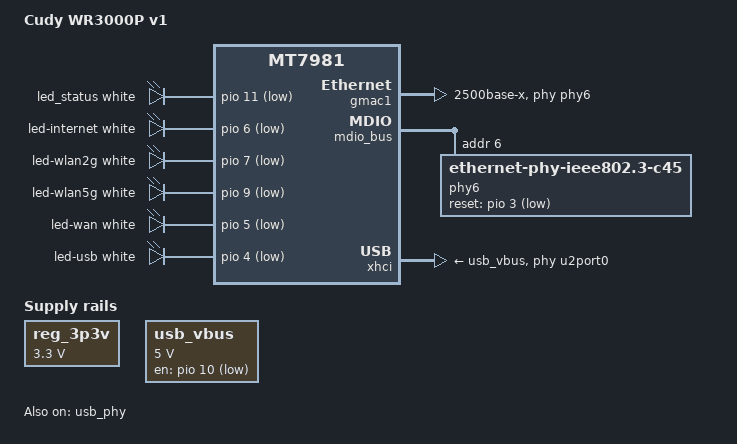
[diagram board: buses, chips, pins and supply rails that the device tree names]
// SPDX-License-Identifier: (GPL-2.0 OR MIT)

/dts-v1/;

#include "mt7981b-cudy-wr3000-nand.dtsi"

/ {
	model = "Cudy WR3000P v1";
	compatible = "cudy,wr3000p-v1", "mediatek,mt7981";

	aliases {
		label-mac-device = &gmac0;
		led-boot = &led_status;
		led-failsafe = &led_status;
		led-running = &led_status;
		led-upgrade = &led_status;
		serial0 = &uart0;
	};

	leds {
		compatible = "gpio-leds";

		led_status: led-status {
			function = LED_FUNCTION_STATUS;
			color = <LED_COLOR_ID_WHITE>;
			gpios = <&pio 11 GPIO_ACTIVE_LOW>;
		};

		led-internet {
			function = LED_FUNCTION_WAN_ONLINE;
			color = <LED_COLOR_ID_WHITE>;
			gpios = <&pio 6 GPIO_ACTIVE_LOW>;
		};

		led-wlan2g {
			function = LED_FUNCTION_WLAN_2GHZ;
			color = <LED_COLOR_ID_WHITE>;
			gpios = <&pio 7 GPIO_ACTIVE_LOW>;
			linux,default-trigger = "phy0tpt";
		};

		led-wlan5g {
			function = LED_FUNCTION_WLAN_5GHZ;
			color = <LED_COLOR_ID_WHITE>;
			gpios = <&pio 9 GPIO_ACTIVE_LOW>;
			linux,default-trigger = "phy1tpt";
		};

		led-wan {
			function = LED_FUNCTION_WAN;
			color = <LED_COLOR_ID_WHITE>;
			gpios = <&pio 5 GPIO_ACTIVE_LOW>;
		};

		led-usb {
			function = LED_FUNCTION_USB;
			color = <LED_COLOR_ID_WHITE>;
			gpios = <&pio 4 GPIO_ACTIVE_LOW>;
		};
	};

	reg_3p3v: regulator-3p3v {
		compatible = "regulator-fixed";
		regulator-name = "fixed-3.3V";
		regulator-min-microvolt = <3300000>;
		regulator-max-microvolt = <3300000>;
		regulator-boot-on;
		regulator-always-on;
	};

	usb_vbus: regulator-5v {
		compatible = "regulator-fixed";
		regulator-name = "usb_vbus";
		regulator-min-microvolt = <5000000>;
		regulator-max-microvolt = <5000000>;
		gpios = <&pio 10 GPIO_ACTIVE_LOW>;
		regulator-boot-on;
	};
};

&eth {
	gmac1: mac@1 {
		compatible = "mediatek,eth-mac";
		reg = <1>;
		phy-handle = <&phy6>;
		phy-mode = "2500base-x";
		nvmem-cell-names = "mac-address";
		nvmem-cells = <&macaddr_bdinfo_de00 1>;
		label = "wan";
	};
};

&mdio_bus {
	phy6: ethernet-phy@6 {
		compatible = "ethernet-phy-ieee802.3-c45";
		reg = <6>;
		reset-assert-us = <100000>;
		reset-deassert-us = <100000>;
		reset-gpios = <&pio 3 GPIO_ACTIVE_LOW>;
	};
};

&switch {
	ports {
		#address-cells = <1>;
		#size-cells = <0>;

		port@0 {
			reg = <0>;
			label = "lan4";
		};

		port@1 {
			reg = <1>;
			label = "lan3";
		};

		port@2 {
			reg = <2>;
			label = "lan2";
		};

		port@3 {
			reg = <3>;
			label = "lan1";
		};

		port@6 {
			reg = <6>;
			label = "cpu";
			ethernet = <&gmac0>;
			phy-mode = "2500base-x";

			fixed-link {
				speed = <2500>;
				full-duplex;
				pause;
			};
		};
	};
};

&xhci {
	vusb33-supply = <&reg_3p3v>;
	vbus-supply = <&usb_vbus>;
	mediatek,u3p-dis-msk = <0x01>;
	phys = <&u2port0 PHY_TYPE_USB2>;
	status = "okay";
};

&usb_phy {
	status = "okay";
};
